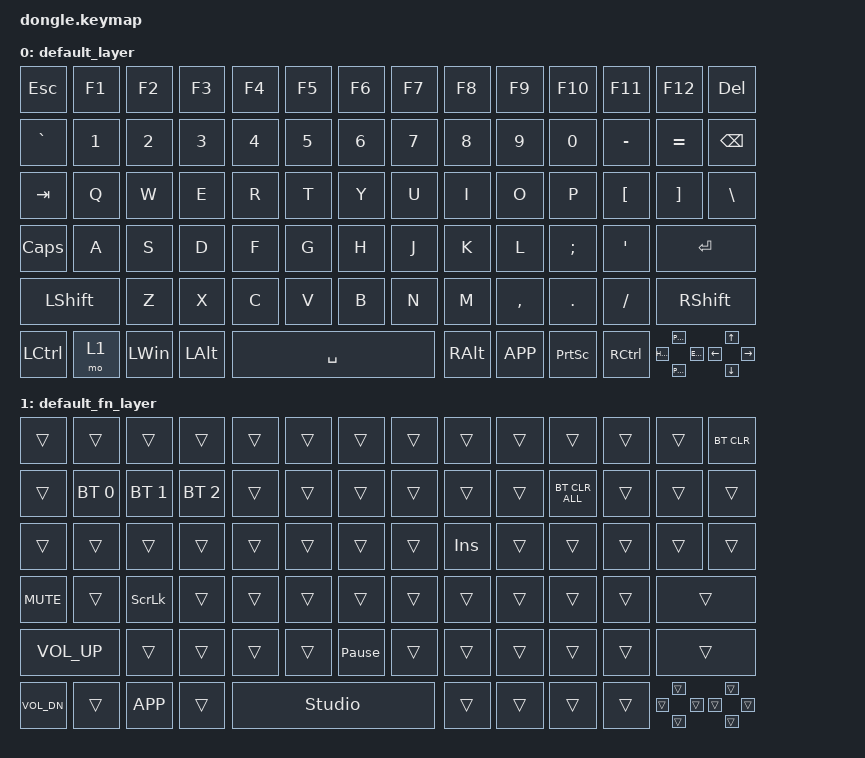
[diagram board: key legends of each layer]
#include <behaviors.dtsi>
#include <dt-bindings/zmk/bt.h>
#include <dt-bindings/zmk/keys.h>

/ {
    keymap {
        compatible = "zmk,keymap";
        default_layer {
            bindings = <
                &kp ESC         &kp F1          &kp F2          &kp F3          &kp F4          &kp F5          &kp F6          &kp F7          &kp F8          &kp F9          &kp F10         &kp F11         &kp F12         &kp DELETE
                &kp GRAVE       &kp N1          &kp N2          &kp N3          &kp N4          &kp N5          &kp N6          &kp N7          &kp N8          &kp N9          &kp N0          &kp MINUS       &kp EQUAL       &kp BACKSPACE
                &kp TAB         &kp Q           &kp W           &kp E           &kp R           &kp T           &kp Y           &kp U           &kp I           &kp O           &kp P           &kp LBKT        &kp RBKT        &kp BACKSLASH
                &kp CAPS        &kp A           &kp S           &kp D           &kp F           &kp G           &kp H           &kp J           &kp K           &kp L           &kp SEMI        &kp SQT         &kp ENTER
                &kp LSHFT                       &kp Z           &kp X           &kp C           &kp V           &kp B           &kp N           &kp M           &kp COMMA       &kp DOT         &kp FSLH        &kp RSHFT
                &kp LCTRL       &mo 1           &kp LEFT_WIN    &kp LALT        &kp SPACE                                                       &kp RALT        &kp K_APP       &kp PRINTSCREEN &kp RCTRL       &kp PG_UP       &kp UP
                                                                                                                                                &kp HOME        &kp PG_DN       &kp END         &kp LEFT        &kp DOWN        &kp RIGHT
            >;
        };
        default_fn_layer {
            bindings = <
                &trans          &trans          &trans          &trans          &trans          &trans          &trans          &trans          &trans          &trans          &trans          &trans          &trans          &bt BT_CLR
                &trans          &bt BT_SEL 0    &bt BT_SEL 1    &bt BT_SEL 2    &trans          &trans          &trans          &trans          &trans          &trans          &bt BT_CLR_ALL  &trans          &trans          &trans
                &trans          &trans          &trans          &trans          &trans          &trans          &trans          &trans          &kp INSERT      &trans          &trans          &trans          &trans          &trans
                &kp C_MUTE      &trans          &kp SCROLLLOCK  &trans          &trans          &trans          &trans          &trans          &trans          &trans          &trans          &trans          &trans
                &kp C_VOL_UP                    &trans          &trans          &trans          &trans          &kp PAUSE_BREAK &trans          &trans          &trans          &trans          &trans          &trans
                &kp C_VOL_DN    &trans          &kp K_APP       &trans          &studio_unlock                                                  &trans          &trans          &trans          &trans          &trans          &trans
                                                                                                                                                &trans          &trans          &trans          &trans          &trans          &trans
            >;
        };

    };
};
